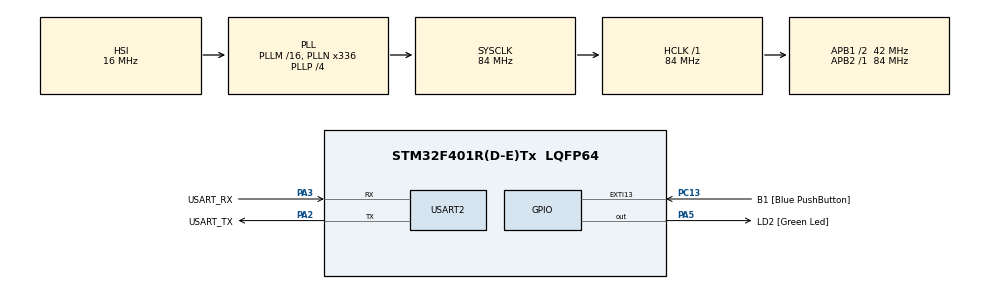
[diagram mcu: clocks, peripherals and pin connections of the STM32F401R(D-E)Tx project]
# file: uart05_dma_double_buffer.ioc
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Dma.Request0=USART2_RX
Dma.Request1=USART2_TX
Dma.USART2_RX.0.Direction=DMA_PERIPH_TO_MEMORY
Dma.USART2_RX.0.FIFOMode=DMA_FIFOMODE_DISABLE
Dma.USART2_RX.0.Instance=DMA1_Stream5
Dma.USART2_RX.0.MemDataAlignment=DMA_MDATAALIGN_BYTE
Dma.USART2_RX.0.MemInc=DMA_MINC_ENABLE
Dma.USART2_RX.0.Mode=DMA_NORMAL
Dma.USART2_RX.0.PeriphDataAlignment=DMA_PDATAALIGN_BYTE
Dma.USART2_RX.0.PeriphInc=DMA_PINC_DISABLE
Dma.USART2_RX.0.Priority=DMA_PRIORITY_LOW
Dma.USART2_TX.1.Direction=DMA_MEMORY_TO_PERIPH
Dma.USART2_TX.1.FIFOMode=DMA_FIFOMODE_DISABLE
Dma.USART2_TX.1.Instance=DMA1_Stream6
Dma.USART2_TX.1.MemDataAlignment=DMA_MDATAALIGN_BYTE
Dma.USART2_TX.1.MemInc=DMA_MINC_ENABLE
Dma.USART2_TX.1.Mode=DMA_NORMAL
Dma.USART2_TX.1.PeriphDataAlignment=DMA_PDATAALIGN_BYTE
Dma.USART2_TX.1.PeriphInc=DMA_PINC_DISABLE
Dma.USART2_TX.1.Priority=DMA_PRIORITY_LOW
Mcu.Family=STM32F4
Mcu.Name=STM32F401R(D-E)Tx
Mcu.Package=LQFP64
NVIC.DMA1_Stream5_IRQn=true\:0\:0\:false\:false\:true\:false\:true\:true
NVIC.DMA1_Stream6_IRQn=true\:0\:0\:false\:false\:true\:false\:true\:true
NVIC.PriorityGroup=NVIC_PRIORITYGROUP_4
NVIC.USART2_IRQn=true\:0\:0\:false\:false\:true\:true\:true\:true
PA13.GPIO_Label=TMS
PA13.Mode=Serial_Wire
PA13.Signal=SYS_JTMS-SWDIO
PA14.GPIO_Label=TCK
PA14.Mode=Serial_Wire
PA14.Signal=SYS_JTCK-SWCLK
PA2.GPIO_Label=USART_TX
PA2.GPIO_Mode=GPIO_MODE_AF_PP
PA2.GPIO_PuPd=GPIO_NOPULL
PA2.GPIO_Speed=GPIO_SPEED_FREQ_LOW
PA2.Mode=Asynchronous
PA2.Signal=USART2_TX
PA3.GPIO_Label=USART_RX
PA3.GPIO_Mode=GPIO_MODE_AF_PP
PA3.GPIO_PuPd=GPIO_NOPULL
PA3.GPIO_Speed=GPIO_SPEED_FREQ_LOW
PA3.Mode=Asynchronous
PA3.Signal=USART2_RX
PA5.GPIO_Label=LD2 [Green Led]
PA5.GPIO_Mode=GPIO_MODE_OUTPUT_PP
PA5.GPIO_PuPd=GPIO_NOPULL
PA5.GPIO_Speed=GPIO_SPEED_FREQ_LOW
PA5.Signal=GPIO_Output
PB3.GPIO_Label=SWO
PB3.Signal=SYS_JTDO-SWO
PC13-ANTI_TAMP.GPIO_Label=B1 [Blue PushButton]
PC13-ANTI_TAMP.GPIO_ModeDefaultEXTI=GPIO_MODE_IT_FALLING
PC13-ANTI_TAMP.GPIO_PuPd=GPIO_NOPULL
PC13-ANTI_TAMP.Signal=GPXTI13
PC14-OSC32_IN.Mode=LSE-External-Oscillator
PC14-OSC32_IN.Signal=RCC_OSC32_IN
PC15-OSC32_OUT.Mode=LSE-External-Oscillator
PC15-OSC32_OUT.Signal=RCC_OSC32_OUT
PH0\ -\ OSC_IN.Mode=HSE-External-Clock-Source
PH0\ -\ OSC_IN.Signal=RCC_OSC_IN
PH1\ -\ OSC_OUT.Mode=HSE-External-Clock-Source
PH1\ -\ OSC_OUT.Signal=RCC_OSC_OUT
ProjectManager.HeapSize=0x200
ProjectManager.StackSize=0x400
ProjectManager.TargetToolchain=CMake
RCC.48MHZClocksFreq_Value=48000000
RCC.AHBFreq_Value=84000000
RCC.APB1CLKDivider=RCC_HCLK_DIV2
RCC.APB1Freq_Value=42000000
RCC.APB1TimFreq_Value=84000000
RCC.APB2Freq_Value=84000000
RCC.APB2TimFreq_Value=84000000
RCC.CortexFreq_Value=84000000
RCC.HCLKFreq_Value=84000000
RCC.HSE_VALUE=8000000
RCC.HSI_VALUE=16000000
RCC.PLLN=336
RCC.PLLP=RCC_PLLP_DIV4
RCC.PLLQ=7
RCC.SYSCLKFreq_VALUE=84000000
RCC.SYSCLKSource=RCC_SYSCLKSOURCE_PLLCLK
RCC.VCOOutputFreq_Value=336000000
USART2.VirtualMode=VM_ASYNC
board=NUCLEO-F401RE

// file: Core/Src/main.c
/* USER CODE BEGIN Header */
/**
  ******************************************************************************
  * @file           : main.c
  * @brief          : Main program body
  ******************************************************************************
  * @attention
  * --------------------------------
  * UART DMAダブルバッファの流れ
  * RX DMAがrx_bufferへ受信
  *  ↓
  * IDLEまたはバッファ満杯
  *  ↓
  * main()がrx_bufferからtx_bufferへコピー
  *  ↓
  * 次のRX DMAをすぐに再開
  *  ↓
  * TX DMAがtx_bufferから送信
  * --------------------------------
  *
  * Copyright (c) 2026 STMicroelectronics.
  * All rights reserved.
  *
  * This software is licensed under terms that can be found in the LICENSE file
  * in the root directory of this software component.
  * If no LICENSE file comes with this software, it is provided AS-IS.
  *
  ******************************************************************************
  */
/* USER CODE END Header */
#include "main.h"

/* USER CODE BEGIN Includes */
#include <string.h>

/* USER CODE END Includes */

/* USER CODE BEGIN PD */
#define UART_BUFFER_SIZE 64U

/* USER CODE END PD */

UART_HandleTypeDef huart2;
DMA_HandleTypeDef hdma_usart2_rx;
DMA_HandleTypeDef hdma_usart2_tx;

/* USER CODE BEGIN PV */
static uint8_t rx_buffer[UART_BUFFER_SIZE];
static uint8_t tx_buffer[UART_BUFFER_SIZE];
static volatile uint16_t rx_length;
static volatile uint8_t rx_ready;
static volatile uint8_t tx_busy;
static volatile uint32_t main_loop_count;

/* USER CODE END PV */

void SystemClock_Config(void);
static void MX_GPIO_Init(void);
static void MX_DMA_Init(void);
static void MX_USART2_UART_Init(void);
/* USER CODE BEGIN PFP */
static void UART_StartReceiveToIdleDMA(void);

/* USER CODE END PFP */

/* USER CODE BEGIN 0 */
static void UART_StartReceiveToIdleDMA(void)
{
  /*
   * USART2で最大64バイトrx_bufferへDMAで受信する
   * DMAを開始してすぐに戻る
   */
  if (HAL_UARTEx_ReceiveToIdle_DMA(&huart2, rx_buffer, UART_BUFFER_SIZE) != HAL_OK)
  {
    Error_Handler();
  }

  /* このサンプルではIDLEまたはバッファ満杯でのみ通知する。 */
  __HAL_DMA_DISABLE_IT(huart2.hdmarx, DMA_IT_HT);
}

/* USER CODE END 0 */

int main(void)
{

  /* MCU Configuration--------------------------------------------------------*/

  /* Reset of all peripherals, Initializes the Flash interface and the Systick. */
  HAL_Init();

  /* Configure the system clock */
  SystemClock_Config();

  /* Initialize all configured peripherals */
  MX_GPIO_Init(); // GPIO初期化
  MX_DMA_Init();  // DMAクロックと割り込み初期化
  MX_USART2_UART_Init(); // USART2とDMAハンドル初期化
  /* USER CODE BEGIN 2 */
  UART_StartReceiveToIdleDMA(); // 最初のRX　DMA開始

  /* USER CODE END 2 */

  /* Infinite loop */
  while (1)
  {

    /* USER CODE BEGIN 3 */
    main_loop_count++;

    if ((rx_ready != 0U) && (tx_busy == 0U))
    {
      uint16_t length = rx_length;

      memcpy(tx_buffer, rx_buffer, length);
      rx_ready = 0U;
      tx_busy = 1U;

      /* RXとTXは別バッファなので、送信前に次の受信を開始できる。 */
      UART_StartReceiveToIdleDMA();

      if (HAL_UART_Transmit_DMA(&huart2, tx_buffer, length) != HAL_OK)
      {
        tx_busy = 0U;
        Error_Handler();
      }
    }
  }
  /* USER CODE END 3 */
}

void SystemClock_Config(void)
{
  RCC_OscInitTypeDef RCC_OscInitStruct = {0};
  RCC_ClkInitTypeDef RCC_ClkInitStruct = {0};

  /** Configure the main internal regulator output voltage
  */
  __HAL_RCC_PWR_CLK_ENABLE();
  __HAL_PWR_VOLTAGESCALING_CONFIG(PWR_REGULATOR_VOLTAGE_SCALE2);

  /** Initializes the RCC Oscillators according to the specified parameters
  * in the RCC_OscInitTypeDef structure.
  */
  RCC_OscInitStruct.OscillatorType = RCC_OSCILLATORTYPE_HSI;
  RCC_OscInitStruct.HSIState = RCC_HSI_ON;
  RCC_OscInitStruct.HSICalibrationValue = RCC_HSICALIBRATION_DEFAULT;
  RCC_OscInitStruct.PLL.PLLState = RCC_PLL_ON;
  RCC_OscInitStruct.PLL.PLLSource = RCC_PLLSOURCE_HSI;
  RCC_OscInitStruct.PLL.PLLM = 16;
  RCC_OscInitStruct.PLL.PLLN = 336;
  RCC_OscInitStruct.PLL.PLLP = RCC_PLLP_DIV4;
  RCC_OscInitStruct.PLL.PLLQ = 7;
  if (HAL_RCC_OscConfig(&RCC_OscInitStruct) != HAL_OK)
  {
    Error_Handler();
  }

  /** Initializes the CPU, AHB and APB buses clocks
  */
  RCC_ClkInitStruct.ClockType = RCC_CLOCKTYPE_HCLK|RCC_CLOCKTYPE_SYSCLK
                              |RCC_CLOCKTYPE_PCLK1|RCC_CLOCKTYPE_PCLK2;
  RCC_ClkInitStruct.SYSCLKSource = RCC_SYSCLKSOURCE_PLLCLK;
  RCC_ClkInitStruct.AHBCLKDivider = RCC_SYSCLK_DIV1;
  RCC_ClkInitStruct.APB1CLKDivider = RCC_HCLK_DIV2;
  RCC_ClkInitStruct.APB2CLKDivider = RCC_HCLK_DIV1;

  if (HAL_RCC_ClockConfig(&RCC_ClkInitStruct, FLASH_LATENCY_2) != HAL_OK)
  {
    Error_Handler();
  }
}

static void MX_USART2_UART_Init(void)
{

  huart2.Instance = USART2;
  huart2.Init.BaudRate = 115200;
  huart2.Init.WordLength = UART_WORDLENGTH_8B;
  huart2.Init.StopBits = UART_STOPBITS_1;
  huart2.Init.Parity = UART_PARITY_NONE;
  huart2.Init.Mode = UART_MODE_TX_RX;
  huart2.Init.HwFlowCtl = UART_HWCONTROL_NONE;
  huart2.Init.OverSampling = UART_OVERSAMPLING_16;
  if (HAL_UART_Init(&huart2) != HAL_OK)
  {
    Error_Handler();
  }

}

static void MX_DMA_Init(void)
{

  /* DMA controller clock enable */
  __HAL_RCC_DMA1_CLK_ENABLE();

  /* DMA interrupt init */
  /* DMA1_Stream5_IRQn interrupt configuration */
  HAL_NVIC_SetPriority(DMA1_Stream5_IRQn, 0, 0);
  HAL_NVIC_EnableIRQ(DMA1_Stream5_IRQn);
  /* DMA1_Stream6_IRQn interrupt configuration */
  HAL_NVIC_SetPriority(DMA1_Stream6_IRQn, 0, 0);
  HAL_NVIC_EnableIRQ(DMA1_Stream6_IRQn);

}

static void MX_GPIO_Init(void)
{
  GPIO_InitTypeDef GPIO_InitStruct = {0};

  /* GPIO Ports Clock Enable */
  __HAL_RCC_GPIOC_CLK_ENABLE();
  __HAL_RCC_GPIOH_CLK_ENABLE();
  __HAL_RCC_GPIOA_CLK_ENABLE();
  __HAL_RCC_GPIOB_CLK_ENABLE();

  /*Configure GPIO pin Output Level */
  HAL_GPIO_WritePin(LD2_GPIO_Port, LD2_Pin, GPIO_PIN_RESET);

  /*Configure GPIO pin : B1_Pin */
  GPIO_InitStruct.Pin = B1_Pin;
  GPIO_InitStruct.Mode = GPIO_MODE_IT_FALLING;
  GPIO_InitStruct.Pull = GPIO_NOPULL;
  HAL_GPIO_Init(B1_GPIO_Port, &GPIO_InitStruct);

  /*Configure GPIO pin : LD2_Pin */
  GPIO_InitStruct.Pin = LD2_Pin;
  GPIO_InitStruct.Mode = GPIO_MODE_OUTPUT_PP;
  GPIO_InitStruct.Pull = GPIO_NOPULL;
  GPIO_InitStruct.Speed = GPIO_SPEED_FREQ_LOW;
  HAL_GPIO_Init(LD2_GPIO_Port, &GPIO_InitStruct);

}

/* USER CODE BEGIN 4 */
// 受信が終了した。
void HAL_UARTEx_RxEventCallback(UART_HandleTypeDef *huart, uint16_t Size)
{
  if (huart->Instance == USART2)
  {
    rx_length = Size;
    rx_ready = 1U;
  }
}

void HAL_UART_TxCpltCallback(UART_HandleTypeDef *huart)
{
  if (huart->Instance == USART2)
  {
    tx_busy = 0U;
    HAL_GPIO_TogglePin(LD2_GPIO_Port, LD2_Pin);
  }
}

/* USER CODE END 4 */

void Error_Handler(void)
{
  __disable_irq();
  while (1)
  {
  }
}
